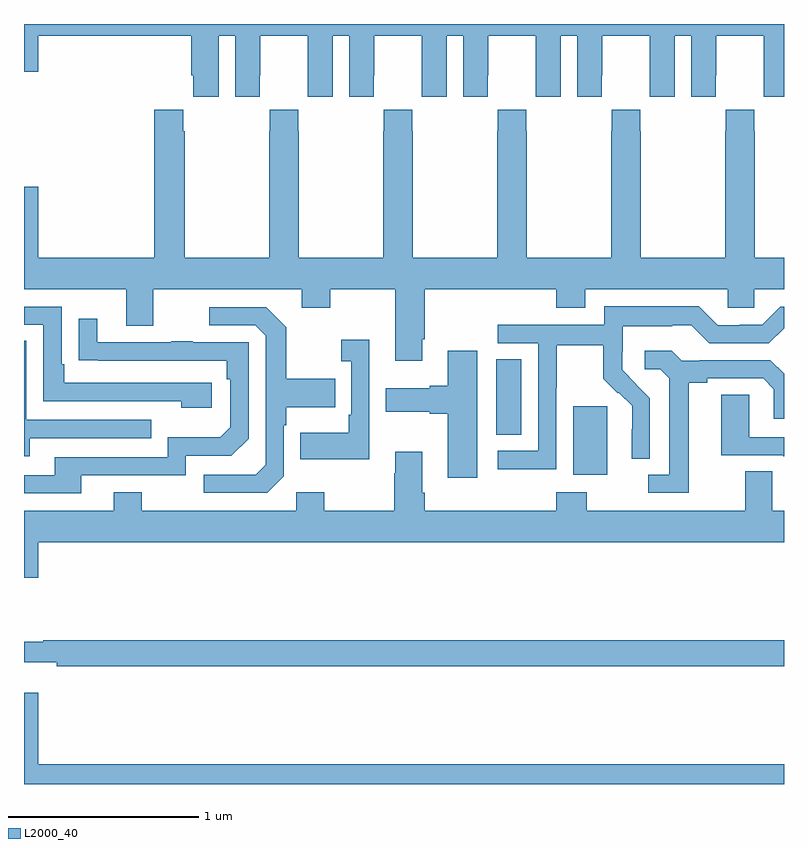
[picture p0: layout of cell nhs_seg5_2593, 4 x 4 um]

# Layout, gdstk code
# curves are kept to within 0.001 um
import gdstk
lib = gdstk.Library(unit=1e-6, precision=1e-09)
def R(c, l, rs):  # rectangles x0, y0, x1, y1
    for r in rs: c.add(gdstk.rectangle(r[:2], r[2:], *l))
def P(c, l, *ps):  # polygons
    for p in ps: c.add(gdstk.Polygon(p, *l))
L2000_40 = (2000, 40)

nhs_seg5_2593 = lib.new_cell('nhs_seg5_2593')
R(nhs_seg5_2593, L2000_40, [(263.891,878.426,264.07,878.787), (263.486,878.638,263.617,879.035)])
P(nhs_seg5_2593, L2000_40, [(264.293,880.528),(264.294,880.528),(264.294,880.416),(264.424,880.416),(264.424,880.736),(264.512,880.736),(264.512,880.416),(264.642,880.416),(264.642,880.528),(264.643,880.528),(264.643,880.736),(264.893,880.736),(264.893,880.528),(264.894,880.528),(264.894,880.416),(265,880.416),(265,880.799),(261,880.799),(261,880.548),(261.076,880.548),(261.076,880.736),(261.881,880.736),(261.881,880.528),(261.89,880.528),(261.89,880.416),(262.024,880.416),(262.024,880.736),(262.112,880.736),(262.112,880.416),(262.242,880.416),(262.242,880.528),(262.243,880.528),(262.243,880.736),(262.493,880.736),(262.493,880.528),(262.494,880.528),(262.494,880.416),(262.624,880.416),(262.624,880.736),(262.712,880.736),(262.712,880.416),(262.842,880.416),(262.842,880.528),(262.843,880.528),(262.843,880.736),(263.093,880.736),(263.093,880.528),(263.094,880.528),(263.094,880.416),(263.224,880.416),(263.224,880.736),(263.312,880.736),(263.312,880.416),(263.442,880.416),(263.442,880.528),(263.443,880.528),(263.443,880.736),(263.693,880.736),(263.693,880.528),(263.694,880.528),(263.694,880.416),(263.824,880.416),(263.824,880.736),(263.912,880.736),(263.912,880.416),(264.042,880.416),(264.042,880.528),(264.043,880.528),(264.043,880.736),(264.293,880.736)],
  [(263.095,879.139),(263.108,879.139),(263.108,879.404),(263.801,879.404),(263.801,879.305),(263.953,879.305),(263.953,879.404),(264.705,879.404),(264.705,879.306),(264.843,879.306),(264.843,879.404),(265,879.404),(265,879.568),(264.846,879.568),(264.846,880.235),(264.843,880.235),(264.843,880.348),(264.693,880.348),(264.693,880.235),(264.691,880.235),(264.691,879.568),(264.246,879.568),(264.246,880.235),(264.243,880.235),(264.243,880.348),(264.093,880.348),(264.093,880.235),(264.091,880.235),(264.091,879.568),(263.646,879.568),(263.646,880.235),(263.643,880.235),(263.643,880.348),(263.493,880.348),(263.493,880.235),(263.491,880.235),(263.491,879.568),(263.046,879.568),(263.046,880.235),(263.043,880.235),(263.043,880.348),(262.893,880.348),(262.893,880.235),(262.891,880.235),(262.891,879.568),(262.446,879.568),(262.446,880.235),(262.443,880.235),(262.443,880.348),(262.293,880.348),(262.293,880.235),(262.291,880.235),(262.291,879.568),(261.846,879.568),(261.846,880.235),(261.839,880.235),(261.839,880.348),(261.686,880.348),(261.686,879.568),(261.076,879.568),(261.076,879.943),(261,879.943),(261,879.404),(261.539,879.404),(261.539,879.21),(261.679,879.21),(261.679,879.404),(262.463,879.404),(262.463,879.305),(262.611,879.305),(262.611,879.404),(262.955,879.404),(262.955,879.027),(263.095,879.027)],
  [(263.802,878.884),(263.805,878.884),(263.805,879.108),(264.049,879.108),(264.049,878.933),(264.126,878.856),(264.129,878.859),(264.2,878.789),(264.2,878.666),(264.198,878.666),(264.198,878.512),(264.294,878.512),(264.294,878.83),(264.148,878.978),(264.148,879.075),(264.15,879.075),(264.15,879.209),(264.413,879.209),(264.413,879.213),(264.513,879.213),(264.606,879.12),(264.921,879.12),(265,879.199),(265,879.312),(264.981,879.312),(264.885,879.216),(264.767,879.216),(264.767,879.213),(264.651,879.213),(264.551,879.313),(264.054,879.313),(264.054,879.216),(263.493,879.216),(263.493,879.12),(263.706,879.12),(263.706,878.553),(263.493,878.553),(263.493,878.455),(263.802,878.455)],
  [(261.988,878.91),(261.211,878.91),(261.211,879.007),(261.198,879.007),(261.198,879.312),(261,879.312),(261,879.216),(261.102,879.216),(261.102,878.814),(261.827,878.814),(261.827,878.78),(261.988,878.78)],
  [(262.368,878.418),(262.368,878.687),(262.381,878.687),(262.381,878.783),(262.637,878.783),(262.637,878.931),(262.381,878.931),(262.381,879.203),(262.275,879.309),(261.975,879.309),(261.975,879.213),(262.218,879.213),(262.272,879.159),(262.272,878.478),(262.221,878.427),(261.945,878.427),(261.945,878.331),(262.281,878.331)],
  [(261.301,878.424),(261.852,878.424),(261.852,878.526),(262.092,878.526),(262.182,878.616),(262.182,879.123),(261.887,879.123),(261.887,879.128),(261.775,879.128),(261.775,879.123),(261.385,879.123),(261.385,879.247),(261.289,879.247),(261.289,879.028),(262.066,879.027),(262.066,878.93),(262.086,878.93),(262.086,878.676),(262.033,878.623),(261.756,878.623),(261.756,878.52),(261.161,878.52),(261.161,878.424),(261,878.424),(261,878.328),(261.301,878.328)],
  [(262.818,879.136),(262.671,879.136),(262.671,879.023),(262.722,879.023),(262.722,878.743),(262.71,878.743),(262.71,878.647),(262.453,878.647),(262.453,878.507),(262.818,878.507)],
  [(261.031,878.619),(261.671,878.619),(261.671,878.715),(261.012,878.715),(261.012,879.131),(261,879.131),(261,878.525),(261.031,878.525)],
  [(263.386,879.079),(263.231,879.079),(263.231,878.894),(263.135,878.894),(263.135,878.881),(262.905,878.881),(262.905,878.759),(263.135,878.759),(263.135,878.747),(263.231,878.747),(263.231,878.412),(263.386,878.412)],
  [(264.499,878.912),(264.595,878.912),(264.595,878.934),(264.89,878.934),(264.947,878.877),(264.947,878.721),(265,878.721),(265,878.958),(264.928,879.03),(264.556,879.03),(264.556,879.027),(264.462,879.027),(264.41,879.079),(264.267,879.079),(264.267,878.982),(264.348,878.982),(264.395,878.935),(264.395,878.427),(264.285,878.427),(264.285,878.331),(264.499,878.331)],
  [(265,878.625),(264.816,878.625),(264.816,878.849),(264.671,878.849),(264.671,878.529),(264.995,878.529),(264.995,878.525),(265,878.525)],
  [(261.076,878.072),(265,878.072),(265,878.236),(264.937,878.236),(264.937,878.444),(264.797,878.444),(264.797,878.236),(263.961,878.236),(263.961,878.335),(263.801,878.335),(263.801,878.236),(263.108,878.236),(263.108,878.332),(263.095,878.332),(263.095,878.548),(262.955,878.548),(262.955,878.435),(262.948,878.435),(262.948,878.236),(262.581,878.236),(262.581,878.335),(262.434,878.335),(262.434,878.236),(261.621,878.236),(261.621,878.335),(261.473,878.335),(261.473,878.236),(261,878.236),(261,877.884),(261.076,877.884)],
  [(265,877.556),(261.1,877.556),(261.1,877.549),(261,877.549),(261,877.439),(261.172,877.439),(261.172,877.42),(265,877.42)],
  [(265,876.904),(261.076,876.904),(261.076,877.279),(261,877.279),(261,876.799),(265,876.799)])

lib.write_gds('nhs_seg5_2593.gds')
